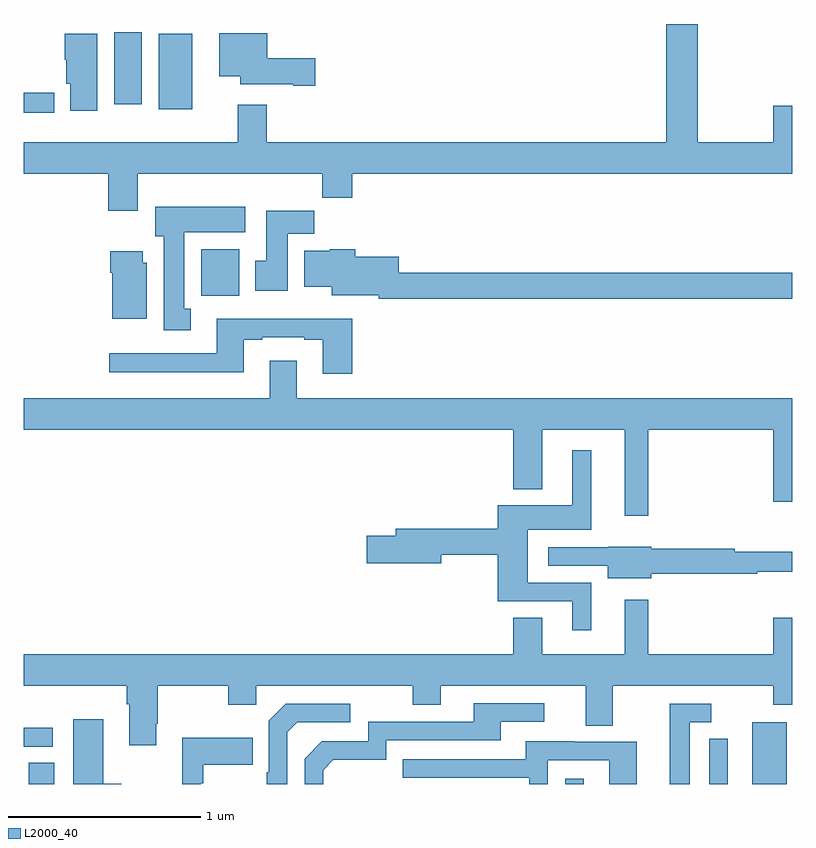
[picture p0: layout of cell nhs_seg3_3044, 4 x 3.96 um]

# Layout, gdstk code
import gdstk
lib = gdstk.Library(unit=1e-6, precision=1e-09)
def R(c, l, rs):  # rectangles x0, y0, x1, y1
    for r in rs: c.add(gdstk.rectangle(r[:2], r[2:], *l))
def P(c, l, *ps):  # polygons
    for p in ps: c.add(gdstk.Polygon(p, *l))
L2000_40 = (2000, 40)

nhs_seg3_3044 = lib.new_cell('nhs_seg3_3044')
R(nhs_seg3_3044, L2000_40, [(269.027,704.4,269.158,704.51), (271.818,704.4,271.915,704.428), (272.792,704.4,272.971,704.722), (269,704.595,269.152,704.694), (269.924,706.94,270.121,707.182), (269,707.894,269.158,707.996), (269.702,707.912,269.878,708.304), (269.471,707.937,269.614,708.313)])
P(nhs_seg3_3044, L2000_40, [(269.593,707.576),(270.553,707.576),(270.553,707.452),(270.71,707.452),(270.71,707.576),(273,707.576),(273,707.929),(272.9,707.929),(272.9,707.74),(272.509,707.74),(272.509,708.355),(272.345,708.355),(272.345,707.74),(270.266,707.74),(270.266,707.935),(270.113,707.935),(270.113,707.74),(269,707.74),(269,707.576),(269.441,707.576),(269.441,707.382),(269.593,707.382)],
  [(270.517,708.176),(270.268,708.176),(270.268,708.307),(270.017,708.307),(270.017,708.083),(270.128,708.083),(270.128,708.041),(270.404,708.041),(270.404,708.034),(270.517,708.034)],
  [(269.383,708.304),(269.213,708.304),(269.213,708.168),(269.222,708.168),(269.222,708.045),(269.243,708.045),(269.243,707.904),(269.383,707.904)],
  [(269.869,706.874),(269.836,706.874),(269.836,707.27),(270.154,707.27),(270.154,707.404),(269.684,707.404),(269.684,707.25),(269.729,707.25),(269.729,706.761),(269.869,706.761)],
  [(270.373,707.264),(270.512,707.264),(270.512,707.383),(270.263,707.383),(270.263,707.124),(270.206,707.124),(270.206,706.968),(270.373,706.968)],
  [(273,707.06),(270.952,707.06),(270.952,707.143),(270.725,707.143),(270.725,707.182),(270.594,707.182),(270.594,707.176),(270.461,707.176),(270.461,706.988),(270.602,706.988),(270.602,706.943),(270.848,706.943),(270.848,706.924),(273,706.924)],
  [(269.641,707.112),(269.62,707.112),(269.62,707.173),(269.45,707.173),(269.45,707.06),(269.462,707.06),(269.462,706.82),(269.641,706.82)],
  [(270.71,706.822),(270.005,706.822),(270.005,706.641),(269.445,706.641),(269.445,706.544),(270.145,706.544),(270.145,706.713),(270.241,706.713),(270.241,706.725),(270.461,706.725),(270.461,706.713),(270.557,706.713),(270.557,706.536),(270.71,706.536)],
  [(272.251,706.244),(272.9,706.244),(272.9,705.87),(273,705.87),(273,706.408),(270.421,706.408),(270.421,706.603),(270.281,706.603),(270.281,706.408),(269,706.408),(269,706.244),(271.547,706.244),(271.547,705.935),(271.699,705.935),(271.699,706.244),(272.129,706.244),(272.129,705.795),(272.251,705.795)],
  [(271.954,705.447),(271.624,705.447),(271.624,705.722),(271.954,705.722),(271.954,706.138),(271.856,706.138),(271.856,705.85),(271.466,705.85),(271.466,705.728),(270.935,705.728),(270.935,705.692),(270.786,705.692),(270.786,705.55),(271.174,705.55),(271.174,705.592),(271.466,705.592),(271.466,705.351),(271.856,705.351),(271.856,705.201),(271.954,705.201)],
  [(272.266,705.495),(272.818,705.495),(272.818,705.505),(273,705.505),(273,705.608),(272.7,705.608),(272.7,705.623),(272.266,705.623),(272.266,705.634),(272.043,705.634),(272.043,705.633),(271.731,705.633),(271.731,705.537),(272.039,705.537),(272.039,705.47),(272.266,705.47)],
  [(269.689,704.713),(269.697,704.713),(269.697,704.912),(270.064,704.912),(270.064,704.813),(270.21,704.813),(270.21,704.912),(271.024,704.912),(271.024,704.813),(271.171,704.813),(271.171,704.912),(271.925,704.912),(271.925,704.704),(272.065,704.704),(272.065,704.912),(272.902,704.912),(272.902,704.813),(273,704.813),(273,705.265),(272.9,705.265),(272.9,705.076),(272.251,705.076),(272.251,705.358),(272.129,705.358),(272.129,705.076),(271.699,705.076),(271.699,705.266),(271.547,705.266),(271.547,705.076),(269,705.076),(269,704.912),(269.537,704.912),(269.537,704.816),(269.549,704.816),(269.549,704.601),(269.689,704.601)],
  [(270.558,704.472),(270.611,704.525),(270.888,704.525),(270.888,704.628),(271.483,704.628),(271.483,704.724),(271.708,704.724),(271.708,704.82),(271.343,704.82),(271.343,704.724),(270.792,704.724),(270.792,704.622),(270.552,704.622),(270.462,704.532),(270.462,704.4),(270.558,704.4)],
  [(270.372,704.67),(270.423,704.721),(270.7,704.721),(270.7,704.817),(270.363,704.817),(270.276,704.73),(270.276,704.461),(270.264,704.461),(270.264,704.4),(270.372,704.4)],
  [(272.467,704.721),(272.578,704.721),(272.578,704.817),(272.363,704.817),(272.363,704.4),(272.467,704.4)],
  [(269.509,704.402),(269.413,704.402),(269.413,704.737),(269.258,704.737),(269.258,704.4),(269.509,704.4)],
  [(269.922,704.405),(269.935,704.405),(269.935,704.501),(270.191,704.501),(270.191,704.641),(269.826,704.641),(269.826,704.4),(269.922,704.4)],
  [(272.663,704.482),(272.664,704.482),(272.664,704.636),(272.568,704.636),(272.568,704.4),(272.663,704.4)],
  [(271.728,704.523),(272.046,704.523),(272.046,704.4),(272.191,704.4),(272.191,704.619),(271.867,704.619),(271.867,704.623),(271.613,704.623),(271.613,704.529),(270.973,704.529),(270.973,704.433),(271.632,704.433),(271.632,704.4),(271.728,704.4)])

lib.write_gds('nhs_seg3_3044.gds')
